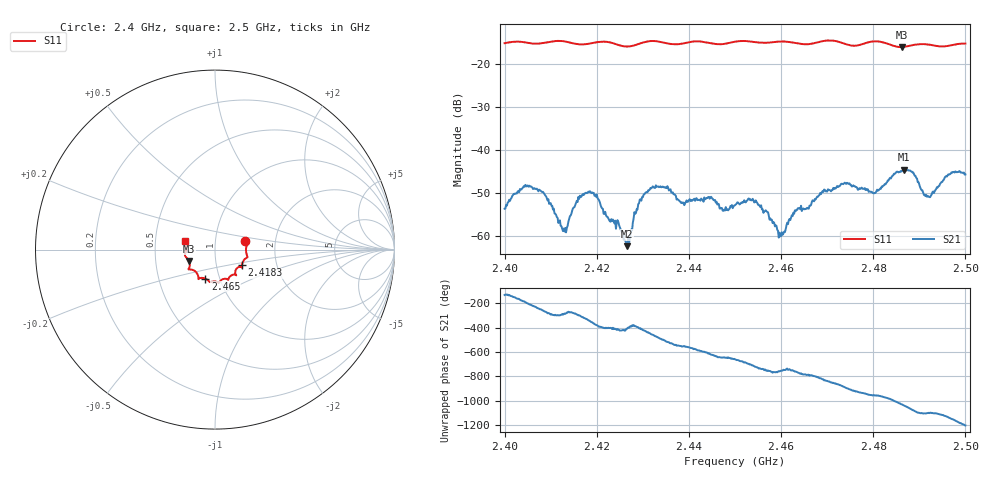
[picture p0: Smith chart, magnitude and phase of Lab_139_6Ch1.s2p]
# Hz S RI R 50
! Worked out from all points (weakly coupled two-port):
!   601 points, 2.4 GHz to 2.5 GHz, reference 50 ohm
!   highest |S21| = -44.56 dB at 2.4867 GHz (marker M1); lowest = -62.3 dB at 2.4265 GHz (marker M2)
!   lowest |S11| = -16.0 dB at 2.4862 GHz (marker M3), VSWR 1.37, Z = 37.1 - j4.86 ohm
!   |S11| at or under -10 dB: start of sweep to end of sweep
!   S12 and S22 are empty: the file has one direction only
!   S11 on the Smith chart (normalised r, x): 2.4 GHz: 1.40, +0.13; 2.4183 GHz: 1.33, -0.24; 2.465 GHz: 0.86, -0.29; 2.5 GHz: 0.71, +0.07
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2.4e9  0.1691 0.0458  -0.00134 -0.00159  0 0  0 0
2.4055e9  0.1744 0.0142  -0.00329 0.00184  0 0  0 0
2.408667e9  0.1757 -0.0238  -0.000232 0.00306  0 0  0 0
2.413e9  0.1788 -0.044  0.000253 0.0011  0 0  0 0
2.416667e9  0.155 -0.0684  0.00179 0.00226  0 0  0 0
2.418333e9  0.1497 -0.087  0.00306 0.00105  0 0  0 0
2.4265e9  0.1216 -0.1044  0.000472 -0.0006  0 0  0 0
2.4295e9  0.113 -0.1332  0.00191 -0.00186  0 0  0 0
2.433333e9  0.1167 -0.1411  -0.00195 -0.00324  0 0  0 0
2.438667e9  0.0789 -0.1548  -0.00234 0.000585  0 0  0 0
2.45e9  0.0251 -0.1808  0.00114 0.00198  0 0  0 0
2.454333e9  0.0121 -0.1802  0.00248 -4.31e-05  0 0  0 0
2.46e9  -0.0278 -0.1815  0.000831 -0.000558  0 0  0 0
2.465e9  -0.0529 -0.1621  0.000876 -0.00185  0 0  0 0
2.466667e9  -0.0715 -0.1575  0.000773 -0.00236  0 0  0 0
2.4735e9  -0.0937 -0.1476  -0.0039 -0.000967  0 0  0 0
2.48e9  -0.1472 -0.1102  -0.00173 0.00264  0 0  0 0
2.483333e9  -0.1417 -0.0956  -0.000472 0.00442  0 0  0 0
2.486167e9  -0.1443 -0.0638  0.00373 0.00424  0 0  0 0
2.486667e9  -0.1475 -0.0586  0.00454 0.00379  0 0  0 0
2.491833e9  -0.1668 -0.0285  0.00269 -0.00114  0 0  0 0
2.5e9  -0.1667 0.0472  -0.00299 -0.00427  0 0  0 0
